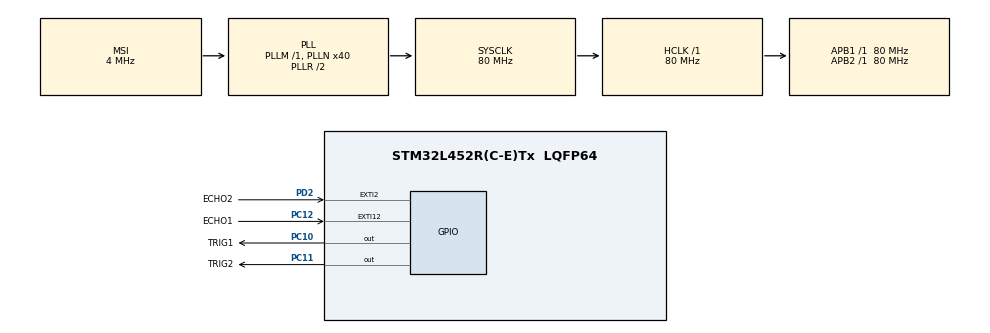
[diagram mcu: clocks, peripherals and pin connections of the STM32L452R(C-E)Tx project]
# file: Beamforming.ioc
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Mcu.Family=STM32L4
RCC.MSI_VALUE=4000000
RCC.CortexFreq_Value=80000000
PC10.GPIO_Label=TRIG1
TIM3.AutoReloadPreload=TIM_AUTORELOAD_PRELOAD_ENABLE
PH0-OSC_IN\ (PH0).Signal=RCC_OSC_IN
PC10.Signal=GPIO_Output
PC11.Signal=GPIO_Output
PC12.Signal=GPXTI12
PH1-OSC_OUT\ (PH1).Signal=RCC_OSC_OUT
RCC.SYSCLKSource=RCC_SYSCLKSOURCE_PLLCLK
ProjectManager.StackSize=0x400
TIM1.AutoReloadPreload=TIM_AUTORELOAD_PRELOAD_ENABLE
TIM1.Prescaler=79
ProjectManager.TargetToolchain=STM32CubeIDE
RCC.HCLKFreq_Value=80000000
RCC.APB2TimFreq_Value=80000000
RCC.USBFreq_Value=16000000
RCC.LSE_VALUE=32768
RCC.AHBFreq_Value=80000000
PD2.GPIO_ModeDefaultEXTI=GPIO_MODE_IT_RISING_FALLING
NVIC.EXTI15_10_IRQn=true\:0\:0\:false\:false\:true\:true\:true
PH1-OSC_OUT\ (PH1).Mode=HSE-External-Oscillator
RCC.HSE_VALUE=8000000
board=custom
RCC.VCOOutputFreq_Value=160000000
RCC.APB2Freq_Value=80000000
VP_TIM2_VS_ClockSourceINT.Mode=Internal
TIM3.Prescaler=79
PC11.GPIO_Label=TRIG2
RCC.ADCFreq_Value=16000000
Mcu.Name=STM32L452R(C-E)Tx
VP_TIM1_VS_ClockSourceINT.Mode=Internal
RCC.SYSCLKFreq_VALUE=80000000
Mcu.Package=LQFP64
TIM2.Prescaler=79
PC12.GPIO_Label=ECHO1
ProjectManager.HeapSize=0x200
RCC.HSI_VALUE=16000000
NVIC.PriorityGroup=NVIC_PRIORITYGROUP_4
NVIC.EXTI2_IRQn=true\:0\:0\:false\:false\:true\:true\:true
RCC.PLLN=40
RCC.APB1TimFreq_Value=80000000
TIM2.AutoReloadPreload=TIM_AUTORELOAD_PRELOAD_ENABLE
PD2.Signal=GPXTI2
RCC.APB1Freq_Value=80000000
PH0-OSC_IN\ (PH0).Mode=HSE-External-Oscillator
VP_TIM3_VS_ClockSourceINT.Mode=Internal
PC12.GPIO_ModeDefaultEXTI=GPIO_MODE_IT_RISING_FALLING
PD2.GPIO_Label=ECHO2
RCC.HSI48_VALUE=48000000

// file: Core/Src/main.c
/* USER CODE BEGIN Header */
/**
 ******************************************************************************
 * @file           : main.c
 * @brief          : Main program body
 ******************************************************************************
 * @attention
 *
 * <h2><center>&copy; Copyright (c) 2021 STMicroelectronics.
 * All rights reserved.</center></h2>
 *
 * This software component is licensed by ST under BSD 3-Clause license,
 * the "License"; You may not use this file except in compliance with the
 * License. You may obtain a copy of the License at:
 *                        opensource.org/licenses/BSD-3-Clause
 *
 ******************************************************************************
 */
/* USER CODE END Header */
#include "main.h"

TIM_HandleTypeDef htim1;
TIM_HandleTypeDef htim2;
TIM_HandleTypeDef htim3;

/* USER CODE BEGIN PV */
uint16_t Reflection1_detected = 0;
uint16_t Reflection2_detected = 0;
uint16_t Reflection3_detected = 0;
uint16_t Reflection1_time = 0;
uint16_t Reflection2_time = 0;
uint16_t Reflection3_time = 0;
uint16_t TempDelay = 0;
uint16_t Transmitter_delay = 0;
uint8_t First_left_transmitter = 1;
float Distance1 = 0;
float Distance2 = 0;
float Distance3 = 0;
/* USER CODE END PV */

void SystemClock_Config(void);
static void MX_GPIO_Init(void);
static void MX_TIM1_Init(void);
static void MX_TIM2_Init(void);
static void MX_TIM3_Init(void);

/* USER CODE BEGIN 0 */
void delay_us(uint16_t us) {
	__HAL_TIM_SET_COUNTER(&htim1, 0);  // set the counter value a 0
	while ((uint16_t) __HAL_TIM_GET_COUNTER(&htim1) < us)
		;  // wait for the counter to reach the us input in the parameter
	TempDelay = (uint16_t) __HAL_TIM_GET_COUNTER(&htim1);
}
/* USER CODE END 0 */

int main(void) {

	/* MCU Configuration--------------------------------------------------------*/

	/* Reset of all peripherals, Initializes the Flash interface and the Systick. */
	HAL_Init();

	/* Configure the system clock */
	SystemClock_Config();

	/* Initialize all configured peripherals */
	MX_GPIO_Init();
	MX_TIM1_Init();
	MX_TIM2_Init();
	MX_TIM3_Init();
	/* USER CODE BEGIN 2 */
	HAL_TIM_Base_Start(&htim1);
	HAL_TIM_Base_Start(&htim2);
	HAL_TIM_Base_Start(&htim3);
	HAL_Delay(3000);
	/* USER CODE END 2 */

	/* Infinite loop */
	/* USER CODE BEGIN WHILE */
	while (1) {

		if (First_left_transmitter == 1) {
			if (Transmitter_delay == 0) {
				HAL_GPIO_WritePin(TRIG1_GPIO_Port, TRIG1_Pin, GPIO_PIN_SET);
				HAL_GPIO_WritePin(TRIG2_GPIO_Port, TRIG2_Pin, GPIO_PIN_SET);
				delay_us(10);
				HAL_GPIO_WritePin(TRIG1_GPIO_Port, TRIG1_Pin, GPIO_PIN_RESET);
				HAL_GPIO_WritePin(TRIG2_GPIO_Port, TRIG2_Pin, GPIO_PIN_RESET);
			} else {
				if (Transmitter_delay > 0 && Transmitter_delay <= 10) {
					HAL_GPIO_WritePin(TRIG1_GPIO_Port, TRIG1_Pin, GPIO_PIN_SET);
					delay_us(Transmitter_delay);
					HAL_GPIO_WritePin(TRIG2_GPIO_Port, TRIG2_Pin, GPIO_PIN_SET);
					delay_us(10 - Transmitter_delay);
					HAL_GPIO_WritePin(TRIG1_GPIO_Port, TRIG1_Pin,
							GPIO_PIN_RESET);
					delay_us(Transmitter_delay);
					HAL_GPIO_WritePin(TRIG2_GPIO_Port, TRIG2_Pin,
							GPIO_PIN_RESET);
				}
				if (Transmitter_delay > 10) {
					HAL_GPIO_WritePin(TRIG1_GPIO_Port, TRIG1_Pin, GPIO_PIN_SET);
					delay_us(10);
					HAL_GPIO_WritePin(TRIG1_GPIO_Port, TRIG1_Pin,
							GPIO_PIN_RESET);
					delay_us(Transmitter_delay - 10);
					HAL_GPIO_WritePin(TRIG2_GPIO_Port, TRIG2_Pin, GPIO_PIN_SET);
					delay_us(10);
					HAL_GPIO_WritePin(TRIG2_GPIO_Port, TRIG2_Pin,
							GPIO_PIN_RESET);
				}

			}
		} else {
			if (Transmitter_delay == 0) {
				HAL_GPIO_WritePin(TRIG2_GPIO_Port, TRIG2_Pin, GPIO_PIN_SET);
				HAL_GPIO_WritePin(TRIG1_GPIO_Port, TRIG1_Pin, GPIO_PIN_SET);
				delay_us(10);
				HAL_GPIO_WritePin(TRIG2_GPIO_Port, TRIG2_Pin, GPIO_PIN_RESET);
				HAL_GPIO_WritePin(TRIG1_GPIO_Port, TRIG1_Pin, GPIO_PIN_RESET);
			} else {
				if (Transmitter_delay > 0 && Transmitter_delay <= 10) {
					HAL_GPIO_WritePin(TRIG2_GPIO_Port, TRIG2_Pin, GPIO_PIN_SET);
					delay_us(Transmitter_delay);
					HAL_GPIO_WritePin(TRIG1_GPIO_Port, TRIG1_Pin, GPIO_PIN_SET);
					delay_us(10 - Transmitter_delay);
					HAL_GPIO_WritePin(TRIG2_GPIO_Port, TRIG2_Pin,
							GPIO_PIN_RESET);
					delay_us(Transmitter_delay);
					HAL_GPIO_WritePin(TRIG1_GPIO_Port, TRIG1_Pin,
							GPIO_PIN_RESET);
				}
				if (Transmitter_delay > 10) {
					HAL_GPIO_WritePin(TRIG2_GPIO_Port, TRIG2_Pin, GPIO_PIN_SET);
					delay_us(10);
					HAL_GPIO_WritePin(TRIG2_GPIO_Port, TRIG2_Pin,
							GPIO_PIN_RESET);
					delay_us(Transmitter_delay - 10);
					HAL_GPIO_WritePin(TRIG1_GPIO_Port, TRIG1_Pin, GPIO_PIN_SET);
					delay_us(10);
					HAL_GPIO_WritePin(TRIG1_GPIO_Port, TRIG1_Pin,
							GPIO_PIN_RESET);

				}

			}

		}
		HAL_Delay(1000);
		/* USER CODE END WHILE */

	}
}

void SystemClock_Config(void) {
	RCC_OscInitTypeDef RCC_OscInitStruct = { 0 };
	RCC_ClkInitTypeDef RCC_ClkInitStruct = { 0 };

	/** Initializes the RCC Oscillators according to the specified parameters
	 * in the RCC_OscInitTypeDef structure.
	 */
	RCC_OscInitStruct.OscillatorType = RCC_OSCILLATORTYPE_MSI;
	RCC_OscInitStruct.MSIState = RCC_MSI_ON;
	RCC_OscInitStruct.MSICalibrationValue = 0;
	RCC_OscInitStruct.MSIClockRange = RCC_MSIRANGE_6;
	RCC_OscInitStruct.PLL.PLLState = RCC_PLL_ON;
	RCC_OscInitStruct.PLL.PLLSource = RCC_PLLSOURCE_MSI;
	RCC_OscInitStruct.PLL.PLLM = 1;
	RCC_OscInitStruct.PLL.PLLN = 40;
	RCC_OscInitStruct.PLL.PLLP = RCC_PLLP_DIV7;
	RCC_OscInitStruct.PLL.PLLQ = RCC_PLLQ_DIV2;
	RCC_OscInitStruct.PLL.PLLR = RCC_PLLR_DIV2;
	if (HAL_RCC_OscConfig(&RCC_OscInitStruct) != HAL_OK) {
		Error_Handler();
	}
	/** Initializes the CPU, AHB and APB buses clocks
	 */
	RCC_ClkInitStruct.ClockType = RCC_CLOCKTYPE_HCLK | RCC_CLOCKTYPE_SYSCLK
			| RCC_CLOCKTYPE_PCLK1 | RCC_CLOCKTYPE_PCLK2;
	RCC_ClkInitStruct.SYSCLKSource = RCC_SYSCLKSOURCE_PLLCLK;
	RCC_ClkInitStruct.AHBCLKDivider = RCC_SYSCLK_DIV1;
	RCC_ClkInitStruct.APB1CLKDivider = RCC_HCLK_DIV1;
	RCC_ClkInitStruct.APB2CLKDivider = RCC_HCLK_DIV1;

	if (HAL_RCC_ClockConfig(&RCC_ClkInitStruct, FLASH_LATENCY_4) != HAL_OK) {
		Error_Handler();
	}
	/** Configure the main internal regulator output voltage
	 */
	if (HAL_PWREx_ControlVoltageScaling(PWR_REGULATOR_VOLTAGE_SCALE1)
			!= HAL_OK) {
		Error_Handler();
	}
}

static void MX_TIM1_Init(void) {

	TIM_ClockConfigTypeDef sClockSourceConfig = { 0 };
	TIM_MasterConfigTypeDef sMasterConfig = { 0 };

	htim1.Instance = TIM1;
	htim1.Init.Prescaler = 79;
	htim1.Init.CounterMode = TIM_COUNTERMODE_UP;
	htim1.Init.Period = 65535;
	htim1.Init.ClockDivision = TIM_CLOCKDIVISION_DIV1;
	htim1.Init.RepetitionCounter = 0;
	htim1.Init.AutoReloadPreload = TIM_AUTORELOAD_PRELOAD_ENABLE;
	if (HAL_TIM_Base_Init(&htim1) != HAL_OK) {
		Error_Handler();
	}
	sClockSourceConfig.ClockSource = TIM_CLOCKSOURCE_INTERNAL;
	if (HAL_TIM_ConfigClockSource(&htim1, &sClockSourceConfig) != HAL_OK) {
		Error_Handler();
	}
	sMasterConfig.MasterOutputTrigger = TIM_TRGO_RESET;
	sMasterConfig.MasterOutputTrigger2 = TIM_TRGO2_RESET;
	sMasterConfig.MasterSlaveMode = TIM_MASTERSLAVEMODE_DISABLE;
	if (HAL_TIMEx_MasterConfigSynchronization(&htim1, &sMasterConfig)
			!= HAL_OK) {
		Error_Handler();
	}

}

static void MX_TIM2_Init(void) {

	TIM_ClockConfigTypeDef sClockSourceConfig = { 0 };
	TIM_MasterConfigTypeDef sMasterConfig = { 0 };

	htim2.Instance = TIM2;
	htim2.Init.Prescaler = 79;
	htim2.Init.CounterMode = TIM_COUNTERMODE_UP;
	htim2.Init.Period = 4294967295;
	htim2.Init.ClockDivision = TIM_CLOCKDIVISION_DIV1;
	htim2.Init.AutoReloadPreload = TIM_AUTORELOAD_PRELOAD_ENABLE;
	if (HAL_TIM_Base_Init(&htim2) != HAL_OK) {
		Error_Handler();
	}
	sClockSourceConfig.ClockSource = TIM_CLOCKSOURCE_INTERNAL;
	if (HAL_TIM_ConfigClockSource(&htim2, &sClockSourceConfig) != HAL_OK) {
		Error_Handler();
	}
	sMasterConfig.MasterOutputTrigger = TIM_TRGO_RESET;
	sMasterConfig.MasterSlaveMode = TIM_MASTERSLAVEMODE_DISABLE;
	if (HAL_TIMEx_MasterConfigSynchronization(&htim2, &sMasterConfig)
			!= HAL_OK) {
		Error_Handler();
	}

}

static void MX_TIM3_Init(void) {

	TIM_ClockConfigTypeDef sClockSourceConfig = { 0 };
	TIM_MasterConfigTypeDef sMasterConfig = { 0 };

	htim3.Instance = TIM3;
	htim3.Init.Prescaler = 79;
	htim3.Init.CounterMode = TIM_COUNTERMODE_UP;
	htim3.Init.Period = 65535;
	htim3.Init.ClockDivision = TIM_CLOCKDIVISION_DIV1;
	htim3.Init.AutoReloadPreload = TIM_AUTORELOAD_PRELOAD_ENABLE;
	if (HAL_TIM_Base_Init(&htim3) != HAL_OK) {
		Error_Handler();
	}
	sClockSourceConfig.ClockSource = TIM_CLOCKSOURCE_INTERNAL;
	if (HAL_TIM_ConfigClockSource(&htim3, &sClockSourceConfig) != HAL_OK) {
		Error_Handler();
	}
	sMasterConfig.MasterOutputTrigger = TIM_TRGO_RESET;
	sMasterConfig.MasterSlaveMode = TIM_MASTERSLAVEMODE_DISABLE;
	if (HAL_TIMEx_MasterConfigSynchronization(&htim3, &sMasterConfig)
			!= HAL_OK) {
		Error_Handler();
	}

}

static void MX_GPIO_Init(void) {
	GPIO_InitTypeDef GPIO_InitStruct = { 0 };

	/* GPIO Ports Clock Enable */
	__HAL_RCC_GPIOH_CLK_ENABLE();
	__HAL_RCC_GPIOC_CLK_ENABLE();
	__HAL_RCC_GPIOD_CLK_ENABLE();

	/*Configure GPIO pin Output Level */
	HAL_GPIO_WritePin(GPIOC, TRIG1_Pin | TRIG2_Pin, GPIO_PIN_RESET);

	/*Configure GPIO pins : TRIG1_Pin TRIG2_Pin */
	GPIO_InitStruct.Pin = TRIG1_Pin | TRIG2_Pin;
	GPIO_InitStruct.Mode = GPIO_MODE_OUTPUT_PP;
	GPIO_InitStruct.Pull = GPIO_NOPULL;
	GPIO_InitStruct.Speed = GPIO_SPEED_FREQ_LOW;
	HAL_GPIO_Init(GPIOC, &GPIO_InitStruct);

	/*Configure GPIO pin : ECHO1_Pin */
	GPIO_InitStruct.Pin = ECHO1_Pin;
	GPIO_InitStruct.Mode = GPIO_MODE_IT_RISING_FALLING;
	GPIO_InitStruct.Pull = GPIO_NOPULL;
	HAL_GPIO_Init(ECHO1_GPIO_Port, &GPIO_InitStruct);

	/*Configure GPIO pin : ECHO2_Pin */
	GPIO_InitStruct.Pin = ECHO2_Pin;
	GPIO_InitStruct.Mode = GPIO_MODE_IT_RISING_FALLING;
	GPIO_InitStruct.Pull = GPIO_NOPULL;
	HAL_GPIO_Init(ECHO2_GPIO_Port, &GPIO_InitStruct);

	/* EXTI interrupt init*/
	HAL_NVIC_SetPriority(EXTI2_IRQn, 0, 0);
	HAL_NVIC_EnableIRQ(EXTI2_IRQn);

	HAL_NVIC_SetPriority(EXTI15_10_IRQn, 0, 0);
	HAL_NVIC_EnableIRQ(EXTI15_10_IRQn);

}

/* USER CODE BEGIN 4 */
void HAL_GPIO_EXTI_Callback(uint16_t GPIO_Pin) {
//	if (GPIO_Pin == ECHO1_Pin) {
//		__HAL_TIM_SET_COUNTER(&htim2, 0);
//		Reflection1_detected = 1;
//		while (HAL_GPIO_ReadPin(ECHO1_GPIO_Port, ECHO1_Pin) == GPIO_PIN_SET)
//			;
//		Reflection1_time = __HAL_TIM_GET_COUNTER(&htim2);
//		Distance1 = (Reflection1_time * 34) / 1000 / 2;
//		Reflection1_detected = 0;
//
//	}
//	if (GPIO_Pin == ECHO2_Pin) {
//		__HAL_TIM_SET_COUNTER(&htim3, 0);
//		Reflection2_detected = 1;
//		while (HAL_GPIO_ReadPin(ECHO2_GPIO_Port, ECHO2_Pin) == GPIO_PIN_SET)
//			;
//		Reflection2_time = __HAL_TIM_GET_COUNTER(&htim3);
//		Distance2 = (Reflection2_time * 34) / 1000 / 2;
//		Reflection2_detected = 0;
//
//	}

	if (GPIO_Pin == ECHO1_Pin) {
		if (HAL_GPIO_ReadPin(ECHO1_GPIO_Port, ECHO1_Pin) == GPIO_PIN_SET) {
			__HAL_TIM_SET_COUNTER(&htim2, 0);
			Reflection1_detected = 1;
		}
		if (HAL_GPIO_ReadPin(ECHO1_GPIO_Port, ECHO1_Pin) == GPIO_PIN_RESET) {
			Reflection1_time = __HAL_TIM_GET_COUNTER(&htim2);
			Distance1 = (Reflection1_time * 34) / 1000 / 2;
			Reflection1_detected = 0;
		}
	}

	if (GPIO_Pin == ECHO2_Pin) {
		if (HAL_GPIO_ReadPin(ECHO2_GPIO_Port, ECHO2_Pin) == GPIO_PIN_SET) {
			__HAL_TIM_SET_COUNTER(&htim3, 0);
			Reflection2_detected = 1;
		}
		if (HAL_GPIO_ReadPin(ECHO2_GPIO_Port, ECHO2_Pin) == GPIO_PIN_RESET) {
			Reflection2_time = __HAL_TIM_GET_COUNTER(&htim3);
			Distance2 = (Reflection2_time * 34) / 1000 / 2;
			Reflection2_detected = 0;
		}
	}
}

/* USER CODE END 4 */

void Error_Handler(void) {
}

/************************ (C) COPYRIGHT STMicroelectronics *****END OF FILE****/
